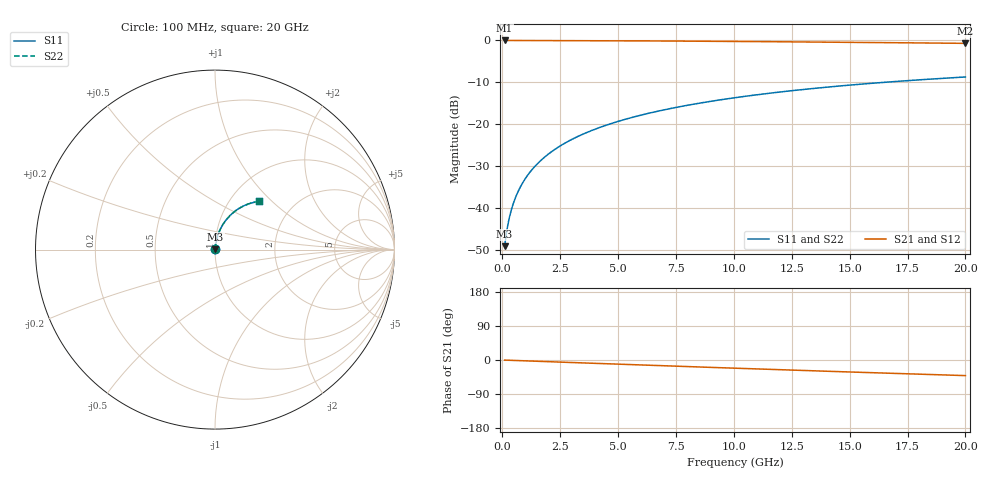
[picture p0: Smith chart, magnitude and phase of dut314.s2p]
! Touchstone file exported from HFSS 2026.1.0
!  File:  C:/ffzhzh/LocalFiles/Ansys_Project_Files/temp_train_TMRDL_314_1783003320_51716.aedt
!  Generated:  10:43:20 PM Jul  2, 2026
!  Design:  TMRDL
!  Project:  temp_train_TMRDL_314_1783003320_51716
! Variables:
!  h_bsmrdl = 2um
!  h_ox = 20um
!  h_rdl = 5um
!  h_sub = 80um
!  h_tmrdl = 3.69um
!  h_tsv = 80um
!  h_via = 3um
!  l_bsmrdl = 300um
!  l_sub = 999.52um
!  l_tmrdl = 599.52um
!  m_sub = 200um
!  pitch = 53.19um
!  r_tsv = 6um
!  s_tmrdl = 10um
!  w_bsmrdl = 18um
!  w_sub = 500um
!  w_tmrdl = 25.5um
!  x_tsv_center1 = 612.27um
!  x_tsv_center2 = 930.27um
!  x_tsv_center3 = 1555.29um
!  x_tsv_center4 = 1873.29um
!  x_tsv_center5 = 2498.31um
!  x_tsv_center6 = 2816.31um
# GHz S MA R 50.000000
! Terminal data exported
! Port[1] = TM_RDL1_1_T1
! Port[2] = TM_RDL1_1_T2
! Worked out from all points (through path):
!   200 points, 100 MHz to 20 GHz, reference 50 ohm
!   highest |S21| = -0.02 dB at 100 MHz (marker M1); lowest = -0.7 dB at 20 GHz (marker M2)
!   group delay of S21, straight-line fit = 5.72 ps
!   lowest |S11| = -49.2 dB at 100 MHz (marker M3), VSWR 1.01, Z = 50.2 + j0.243 ohm
!   |S11| at or under -10 dB: start of sweep to 16.56 GHz
!   |S22| runs from -49.2 to -8.8 dB; largest |S21 - S12| = 2.1e-15
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0.1  0.003469 44.1  0.9975 -0.2  0.9975 -0.2  0.003469 44.1
! Gamma 0 0 0 0
! Port Impedance 50 0 50 0
0.2  0.005438 60.5  0.9973 -0.5  0.9973 -0.5  0.005438 60.5
0.3  0.007535 67.6  0.9972 -0.7  0.9972 -0.7  0.007535 67.6
0.4  0.009639 71.5  0.997 -0.9  0.997 -0.9  0.009639 71.5
0.5  0.01175 74.0  0.9969 -1.1  0.9969 -1.1  0.01175 74.0
0.6  0.01386 75.8  0.9969 -1.3  0.9969 -1.3  0.01386 75.8
0.8  0.01811 78.1  0.9967 -1.8  0.9967 -1.8  0.01811 78.1
1.1  0.02455 79.8  0.9965 -2.5  0.9965 -2.5  0.02455 79.8
1.5  0.03317 80.8  0.9961 -3.3  0.9961 -3.3  0.03317 80.8
1.8  0.03965 80.9  0.9957 -4.0  0.9957 -4.0  0.03965 80.9
2.1  0.04612 80.8  0.9954 -4.7  0.9954 -4.7  0.04612 80.8
2.7  0.05902 80.3  0.9944 -6.0  0.9944 -6.0  0.05902 80.3
3.5  0.07609 79.1  0.9929 -7.7  0.9929 -7.7  0.07609 79.1
4.2  0.09085 77.8  0.9913 -9.3  0.9913 -9.3  0.09085 77.8
5  0.1075 76.3  0.9892 -11.0  0.9892 -11.0  0.1075 76.3
5.9  0.1259 74.6  0.9865 -12.9  0.9865 -12.9  0.126 74.6
6.8  0.1441 72.8  0.9836 -14.8  0.9836 -14.8  0.1441 72.8
8.3  0.1734 69.8  0.9781 -18.0  0.9781 -18.0  0.1735 69.8
10.1  0.2074 66.2  0.9707 -21.8  0.9707 -21.8  0.2074 66.2
13.4  0.2656 59.7  0.9555 -28.5  0.9555 -28.5  0.2656 59.7
16.7  0.3183 53.4  0.9388 -34.9  0.9388 -34.9  0.3183 53.4
20  0.365 47.3  0.9213 -41.2  0.9213 -41.2  0.365 47.3
